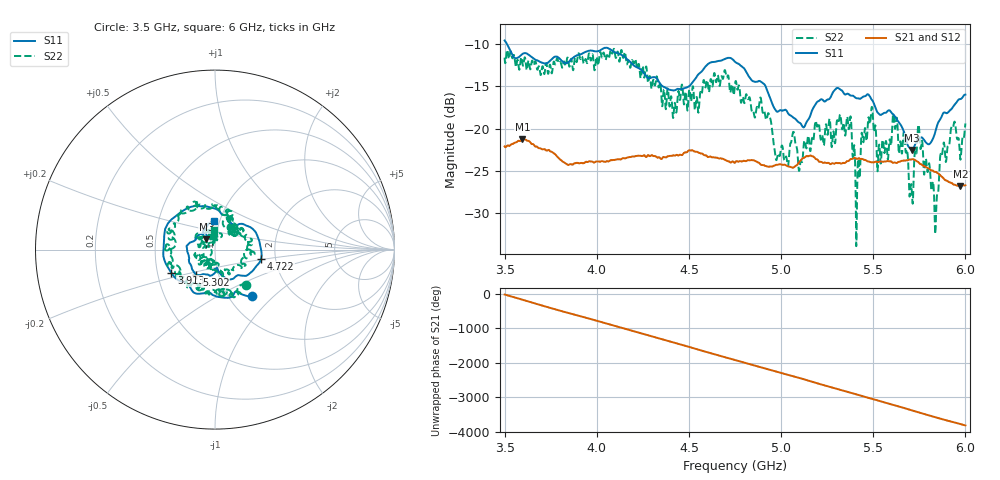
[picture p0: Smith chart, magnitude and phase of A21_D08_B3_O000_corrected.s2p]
! Created with skrf 1.9.0 (http://scikit-rf.org).
# Hz S RI R 50.0
!freq ReS11 ImS11 ReS21 ImS21 ReS12 ImS12 ReS22 ImS22
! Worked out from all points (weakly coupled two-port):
!   1601 points, 3.5 GHz to 6 GHz, reference 50 ohm
!   highest |S21| = -21.25 dB at 3.597 GHz (marker M1); lowest = -26.8 dB at 5.973 GHz (marker M2)
!   lowest |S11| = -22.5 dB at 5.711 GHz (marker M3), VSWR 1.16, Z = 45.1 + j5.24 ohm
!   |S11| at or under -10 dB: 3.513 GHz to end of sweep
!   |S22| runs from -33.9 to -10.6 dB; largest |S21 - S12| = 0.0011
!   S11 on the Smith chart (normalised r, x): 3.5 GHz: 1.27, -0.75; 3.913 GHz: 0.59, -0.17; 4.722 GHz: 1.68, -0.19; 5.302 GHz: 0.78, -0.22; 6 GHz: 0.94, +0.30
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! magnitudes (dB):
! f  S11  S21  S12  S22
! 3.5 GHz  -9.6  -22.1  -22.1  -11.6
! 3.597 GHz  -11.2  -21.3  -21.3  -12.3
! 3.913 GHz  -11.2  -24.1  -24.0  -11.8
! 3.917 GHz  -11.2  -24.0  -24.0  -11.5
! 4.334 GHz  -14.3  -23.4  -23.3  -15.1
! 4.422 GHz  -15.5  -23.2  -23.2  -17.1
! 4.722 GHz  -11.6  -23.9  -23.9  -15.5
! 4.75 GHz  -12.1  -24.0  -23.9  -14.7
! 4.98 GHz  -18.0  -24.3  -24.2  -23.4
! 5.167 GHz  -17.9  -23.2  -23.2  -21.2
! 5.302 GHz  -15.2  -24.1  -24.0  -19.3
! 5.369 GHz  -16.0  -23.8  -23.7  -20.0
! 5.416 GHz  -16.4  -23.6  -23.6  -24.3
! 5.484 GHz  -16.3  -23.9  -23.9  -19.1
! 5.584 GHz  -17.8  -23.9  -23.8  -22.3
! 5.619 GHz  -18.6  -24.0  -24.0  -20.0
! 5.711 GHz  -22.5  -23.6  -23.6  -28.0
! 5.752 GHz  -21.1  -24.1  -24.1  -20.9
! 5.841 GHz  -20.1  -25.1  -25.1  -30.2
! 5.875 GHz  -18.4  -25.7  -25.7  -22.9
! 5.973 GHz  -16.5  -26.8  -26.7  -23.7
! 6 GHz  -16.0  -26.7  -26.7  -19.4
